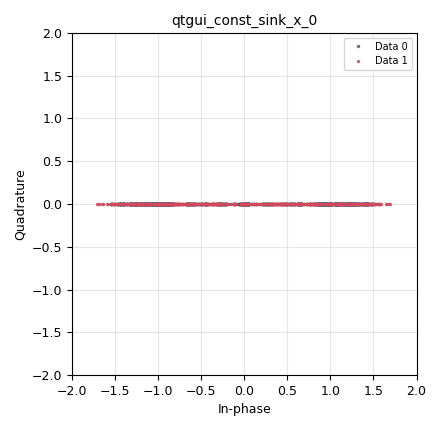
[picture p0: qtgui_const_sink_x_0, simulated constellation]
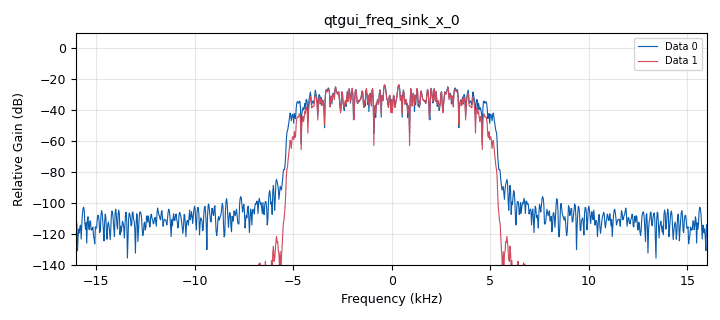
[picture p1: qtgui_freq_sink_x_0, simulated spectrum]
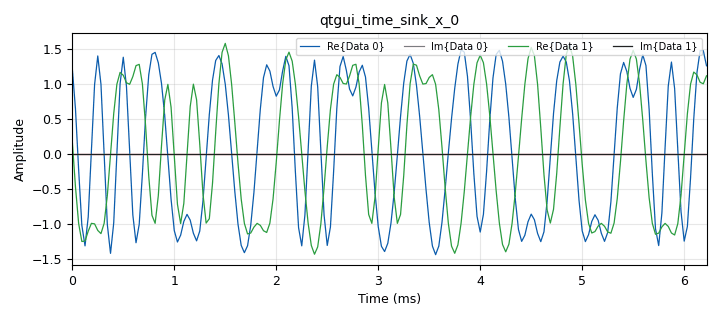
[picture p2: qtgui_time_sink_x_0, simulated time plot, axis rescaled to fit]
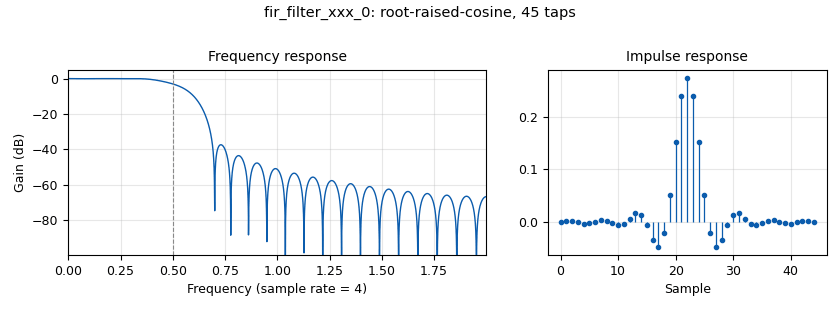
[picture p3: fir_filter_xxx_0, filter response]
options:
  parameters:
    generate_options: qt_gui
    id: bpsk_demod
    output_language: python
    title: bpsk_stage1
  states: {}

blocks:
- name: bpdk
  id: variable_constellation
  parameters:
    precision: '8'
    type: bpsk
  states: {}
- name: excess_bw
  id: variable
  parameters:
    value: '0.35'
  states: {}
- name: rrc_taps
  id: variable
  parameters:
    value: firdes.root_raised_cosine(1, sps, 1, excess_bw, 45)
  states: {}
- name: samp_rate
  id: variable
  parameters:
    value: '32000'
  states: {}
- name: sps
  id: variable
  parameters:
    value: '4'
  states: {}
- name: analog_random_source_x_0
  id: analog_random_source_x
  parameters:
    max: '256'
    min: '0'
    num_samps: '1000'
    repeat: 'True'
    type: byte
  states: {}
- name: blocks_throttle2_0
  id: blocks_throttle2
  parameters:
    samples_per_second: samp_rate
    type: complex
  states: {}
- name: digital_constellation_modulator_0
  id: digital_constellation_modulator
  parameters:
    constellation: digital.constellation_bpsk()
    differential: 'True'
    excess_bw: excess_bw
    samples_per_symbol: sps
  states: {}
- name: fir_filter_xxx_0
  id: fir_filter_xxx
  parameters:
    decim: '1'
    taps: rrc_taps
    type: ccc
  states: {}
- name: qtgui_const_sink_x_0
  id: qtgui_const_sink_x
  parameters:
    gui_hint: 0,2,1,2
    nconnections: '2'
    size: '1024'
    type: complex
  states: {}
- name: qtgui_freq_sink_x_0
  id: qtgui_freq_sink_x
  parameters:
    bw: samp_rate
    fc: '0'
    fftsize: '1024'
    gui_hint: 1,0,1,4
    nconnections: '2'
    type: complex
  states: {}
- name: qtgui_time_sink_x_0
  id: qtgui_time_sink_x
  parameters:
    color1: dark blue
    color2: dark blue
    gui_hint: 0,0,1,2
    nconnections: '2'
    size: '200'
    srate: samp_rate
    type: complex
  states: {}

connections:
- [analog_random_source_x_0, '0', digital_constellation_modulator_0, '0']
- [blocks_throttle2_0, '0', fir_filter_xxx_0, '0']
- [blocks_throttle2_0, '0', qtgui_const_sink_x_0, '0']
- [blocks_throttle2_0, '0', qtgui_freq_sink_x_0, '0']
- [blocks_throttle2_0, '0', qtgui_time_sink_x_0, '0']
- [digital_constellation_modulator_0, '0', blocks_throttle2_0, '0']
- [fir_filter_xxx_0, '0', qtgui_const_sink_x_0, '1']
- [fir_filter_xxx_0, '0', qtgui_freq_sink_x_0, '1']
- [fir_filter_xxx_0, '0', qtgui_time_sink_x_0, '1']

metadata:
  file_format: 1
  grc_version: 3.10.12.0
